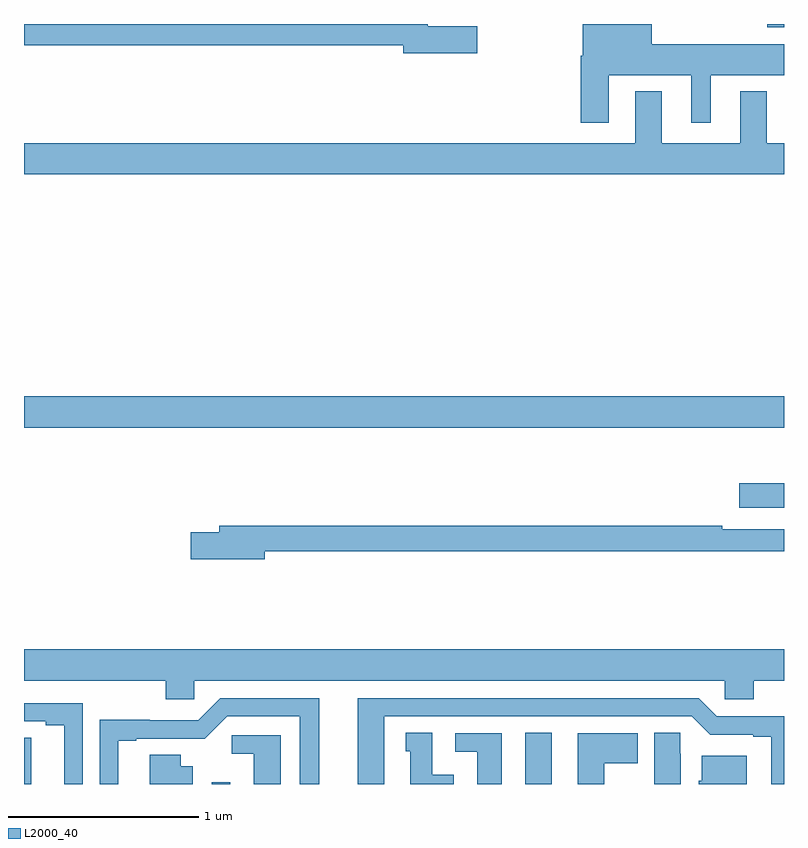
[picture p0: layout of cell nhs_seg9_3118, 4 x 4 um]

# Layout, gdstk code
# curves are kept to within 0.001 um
import gdstk
lib = gdstk.Library(unit=1e-6, precision=1e-09)
def R(c, l, rs):  # rectangles x0, y0, x1, y1
    for r in rs: c.add(gdstk.rectangle(r[:2], r[2:], *l))
def P(c, l, *ps):  # polygons
    for p in ps: c.add(gdstk.Polygon(p, *l))
L2000_40 = (2000, 40)

nhs_seg9_3118 = lib.new_cell('nhs_seg9_3118')
R(nhs_seg9_3118, L2000_40, [(289,1238.5,289.039,1238.744), (289.989,1238.5,290.085,1238.509), (291.638,1238.5,291.778,1238.771), (292.764,1239.953,293,1240.083), (289,1240.376,293,1240.54), (292.911,1242.482,293,1242.5)])
P(nhs_seg9_3118, L2000_40, [(292.078,1242.23),(292.511,1242.23),(292.511,1241.979),(292.615,1241.979),(292.615,1242.23),(293,1242.23),(293,1242.394),(292.303,1242.394),(292.303,1242.5),(291.941,1242.5),(291.941,1242.334),(291.929,1242.334),(291.929,1241.979),(292.078,1241.979)],
  [(291.385,1242.488),(291.124,1242.488),(291.124,1242.5),(289,1242.5),(289,1242.388),(290.996,1242.388),(290.996,1242.346),(291.385,1242.346)],
  [(293,1241.872),(292.909,1241.872),(292.909,1242.145),(292.769,1242.145),(292.769,1241.872),(292.357,1241.872),(292.357,1242.145),(292.217,1242.145),(292.217,1241.872),(289,1241.872),(289,1241.708),(293,1241.708)],
  [(290.266,1239.724),(293,1239.724),(293,1239.84),(292.676,1239.84),(292.676,1239.86),(290.027,1239.86),(290.027,1239.824),(289.878,1239.824),(289.878,1239.682),(290.266,1239.682)],
  [(289.896,1239.044),(292.689,1239.044),(292.689,1238.946),(292.841,1238.946),(292.841,1239.044),(293,1239.044),(293,1239.208),(289,1239.208),(289,1239.044),(289.745,1239.044),(289.745,1238.946),(289.896,1238.946)],
  [(289.495,1238.727),(289.591,1238.727),(289.591,1238.739),(289.952,1238.738),(290.07,1238.856),(290.45,1238.856),(290.45,1238.5),(290.554,1238.5),(290.554,1238.952),(290.034,1238.952),(289.917,1238.835),(289.661,1238.835),(289.661,1238.837),(289.398,1238.837),(289.398,1238.5),(289.495,1238.5)],
  [(290.896,1238.856),(292.515,1238.856),(292.611,1238.76),(292.838,1238.76),(292.838,1238.748),(292.934,1238.748),(292.934,1238.5),(293,1238.5),(293,1238.856),(292.647,1238.856),(292.551,1238.952),(290.756,1238.952),(290.756,1238.5),(290.896,1238.5)],
  [(289.308,1238.925),(289,1238.925),(289,1238.829),(289.115,1238.829),(289.115,1238.809),(289.211,1238.809),(289.211,1238.5),(289.308,1238.5)],
  [(291.262,1238.548),(291.148,1238.548),(291.148,1238.771),(291.008,1238.771),(291.008,1238.673),(291.032,1238.673),(291.032,1238.5),(291.262,1238.5)],
  [(292.456,1238.66),(292.455,1238.66),(292.455,1238.771),(292.316,1238.771),(292.316,1238.5),(292.456,1238.5)],
  [(292.054,1238.608),(292.231,1238.608),(292.231,1238.767),(291.914,1238.767),(291.914,1238.5),(292.054,1238.5)],
  [(291.514,1238.766),(291.27,1238.766),(291.27,1238.67),(291.386,1238.67),(291.386,1238.5),(291.514,1238.5)],
  [(290.35,1238.757),(290.094,1238.757),(290.094,1238.66),(290.21,1238.66),(290.21,1238.5),(290.35,1238.5)],
  [(289.888,1238.593),(289.825,1238.593),(289.825,1238.654),(289.661,1238.654),(289.661,1238.5),(289.888,1238.5)],
  [(292.804,1238.65),(292.568,1238.65),(292.568,1238.517),(292.55,1238.517),(292.55,1238.5),(292.804,1238.5)])

lib.write_gds('nhs_seg9_3118.gds')
